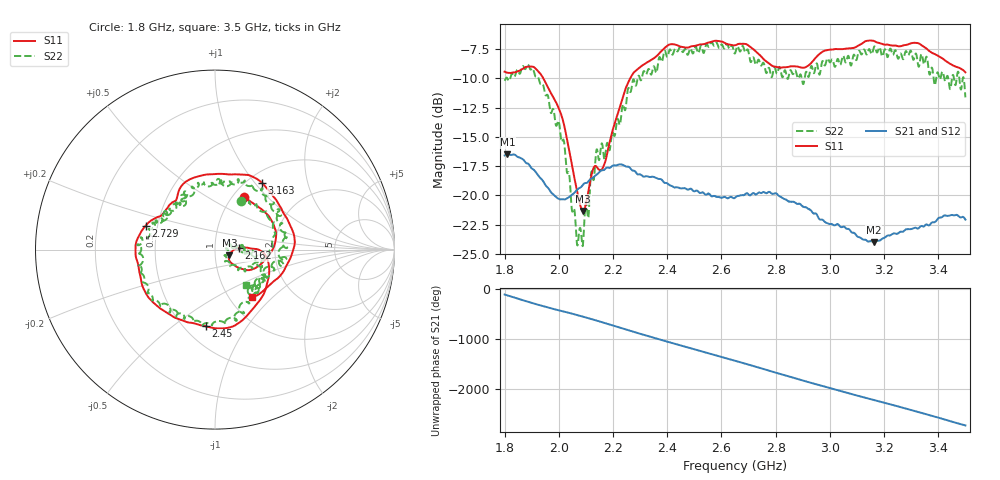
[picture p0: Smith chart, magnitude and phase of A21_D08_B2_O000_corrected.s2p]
! Created with skrf 1.9.0 (http://scikit-rf.org).
# Hz S RI R 50.0
!freq ReS11 ImS11 ReS21 ImS21 ReS12 ImS12 ReS22 ImS22
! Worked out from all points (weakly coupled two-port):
!   1601 points, 1.8 GHz to 3.5 GHz, reference 50 ohm
!   highest |S21| = -16.49 dB at 1.811 GHz (marker M1); lowest = -24.0 dB at 3.161 GHz (marker M2)
!   lowest |S11| = -21.3 dB at 2.09 GHz (marker M3), VSWR 1.19, Z = 58.5 - j3.72 ohm
!   |S11| at or under -10 dB: 1.942 GHz to 2.264 GHz (321.1 MHz wide, 15.3 % of centre)
!   |S22| runs from -24.3 to -6.9 dB; largest |S21 - S12| = 0.0028
!   S11 on the Smith chart (normalised r, x): 1.8 GHz: 1.13, +0.75; 2.162 GHz: 1.30, +0.02; 2.45 GHz: 0.63, -0.66; 2.729 GHz: 0.43, +0.14; 3.163 GHz: 1.15, +1.09; 3.5 GHz: 1.27, -0.75
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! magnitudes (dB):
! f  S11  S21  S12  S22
! 1.8 GHz  -9.4  -16.6  -16.6  -10.2
! 1.811 GHz  -9.5  -16.5  -16.5  -10.0
! 1.887 GHz  -9.0  -17.3  -17.4  -8.9
! 1.94 GHz  -9.9  -18.7  -18.7  -10.5
! 2.013 GHz  -13.4  -20.3  -20.3  -15.4
! 2.066 GHz  -19.5  -19.6  -19.6  -23.8
! 2.084 GHz  -21.2  -19.2  -19.2  -23.6
! 2.09 GHz  -21.3  -19.1  -19.1  -23.9
! 2.138 GHz  -17.5  -18.3  -18.2  -16.2
! 2.162 GHz  -17.6  -17.8  -17.8  -16.0
! 2.259 GHz  -10.2  -17.6  -17.6  -10.9
! 2.367 GHz  -8.0  -18.6  -18.5  -8.5
! 2.45 GHz  -7.3  -19.4  -19.4  -7.5
! 2.65 GHz  -7.2  -20.2  -20.2  -7.9
! 2.729 GHz  -7.8  -19.9  -19.9  -8.8
! 2.805 GHz  -9.1  -19.9  -19.9  -9.6
! 2.934 GHz  -8.6  -21.4  -21.4  -9.0
! 3.161 GHz  -6.8  -24.0  -23.9  -7.5
! 3.163 GHz  -6.8  -24.0  -23.9  -7.3
! 3.217 GHz  -7.2  -23.4  -23.4  -7.9
! 3.326 GHz  -7.0  -22.8  -22.8  -8.9
! 3.5 GHz  -9.5  -22.1  -22.1  -11.6
